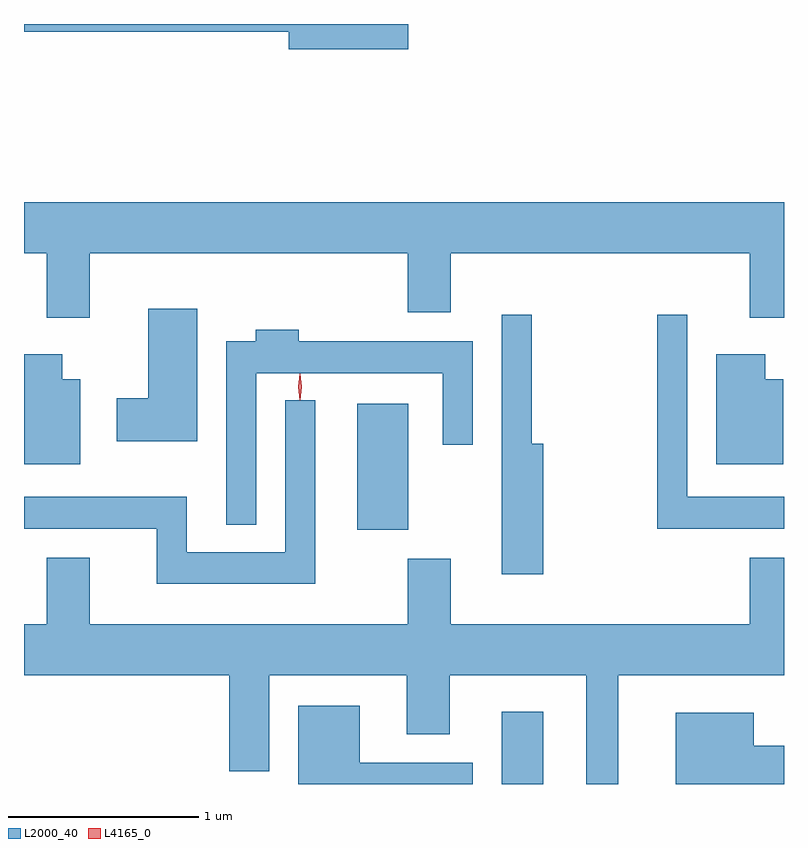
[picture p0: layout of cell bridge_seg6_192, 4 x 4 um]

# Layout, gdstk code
import gdstk
lib = gdstk.Library(unit=1e-6, precision=1e-09)
def R(c, l, rs):  # rectangles x0, y0, x1, y1
    for r in rs: c.add(gdstk.rectangle(r[:2], r[2:], *l))
def P(c, l, *ps):  # polygons
    for p in ps: c.add(gdstk.Polygon(p, *l))
L2000_40 = (2000, 40)
L4165_0 = (4165, 0)

bridge_seg6_192 = lib.new_cell('bridge_seg6_192')
R(bridge_seg6_192, L2000_40, [(1044.446,1567.223,1044.664,1567.604), (1043.686,1568.561,1043.954,1569.224)])
P(bridge_seg6_192, L2000_40, [(1043.954,1571.223),(1041.932,1571.223),(1041.932,1571.181),(1043.326,1571.181),(1043.326,1571.091),(1043.954,1571.091)],
  [(1042.279,1570.016),(1043.951,1570.016),(1043.951,1569.706),(1044.179,1569.706),(1044.179,1570.016),(1045.751,1570.016),(1045.751,1569.676),(1045.932,1569.676),(1045.932,1570.284),(1041.932,1570.284),(1041.932,1570.016),(1042.051,1570.016),(1042.051,1569.676),(1042.279,1569.676)],
  [(1042.844,1569.724),(1042.586,1569.724),(1042.586,1569.254),(1042.421,1569.254),(1042.421,1569.026),(1042.844,1569.026)],
  [(1044.664,1569.014),(1044.604,1569.014),(1044.604,1569.693),(1044.446,1569.693),(1044.446,1568.326),(1044.664,1568.326)],
  [(1045.932,1568.734),(1045.424,1568.734),(1045.424,1569.693),(1045.266,1569.693),(1045.266,1568.566),(1045.932,1568.566)],
  [(1043.154,1569.386),(1044.136,1569.386),(1044.136,1569.008),(1044.294,1569.008),(1044.294,1569.554),(1043.379,1569.554),(1043.379,1569.614),(1043.151,1569.614),(1043.151,1569.554),(1042.996,1569.554),(1042.996,1568.588),(1043.154,1568.588)],
  [(1045.929,1569.354),(1045.834,1569.354),(1045.834,1569.484),(1045.576,1569.484),(1045.576,1568.906),(1045.929,1568.906)],
  [(1042.229,1569.354),(1042.134,1569.354),(1042.134,1569.484),(1041.932,1569.484),(1041.932,1568.906),(1042.229,1568.906)],
  [(1043.464,1569.243),(1043.306,1569.243),(1043.306,1568.444),(1042.789,1568.444),(1042.789,1568.734),(1041.932,1568.734),(1041.932,1568.566),(1042.631,1568.566),(1042.631,1568.276),(1043.464,1568.276)],
  [(1045.059,1567.796),(1045.932,1567.796),(1045.932,1568.414),(1045.751,1568.414),(1045.751,1568.064),(1044.179,1568.064),(1044.179,1568.409),(1043.951,1568.409),(1043.951,1568.064),(1042.279,1568.064),(1042.279,1568.414),(1042.051,1568.414),(1042.051,1568.064),(1041.932,1568.064),(1041.932,1567.796),(1043.011,1567.796),(1043.011,1567.291),(1043.224,1567.291),(1043.224,1567.796),(1043.946,1567.796),(1043.946,1567.486),(1044.174,1567.486),(1044.174,1567.796),(1044.891,1567.796),(1044.891,1567.223),(1045.059,1567.223)],
  [(1044.294,1567.334),(1043.699,1567.334),(1043.699,1567.634),(1043.376,1567.634),(1043.376,1567.223),(1044.294,1567.223)],
  [(1045.932,1567.424),(1045.774,1567.424),(1045.774,1567.599),(1045.361,1567.599),(1045.361,1567.223),(1045.932,1567.223)])
P(bridge_seg6_192, L4165_0, [(1043.384,1569.244),(1043.375,1569.313),(1043.384,1569.382),(1043.384,1569.383),(1043.385,1569.382),(1043.395,1569.313),(1043.386,1569.244),(1043.385,1569.244)])

lib.write_gds('bridge_seg6_192.gds')
